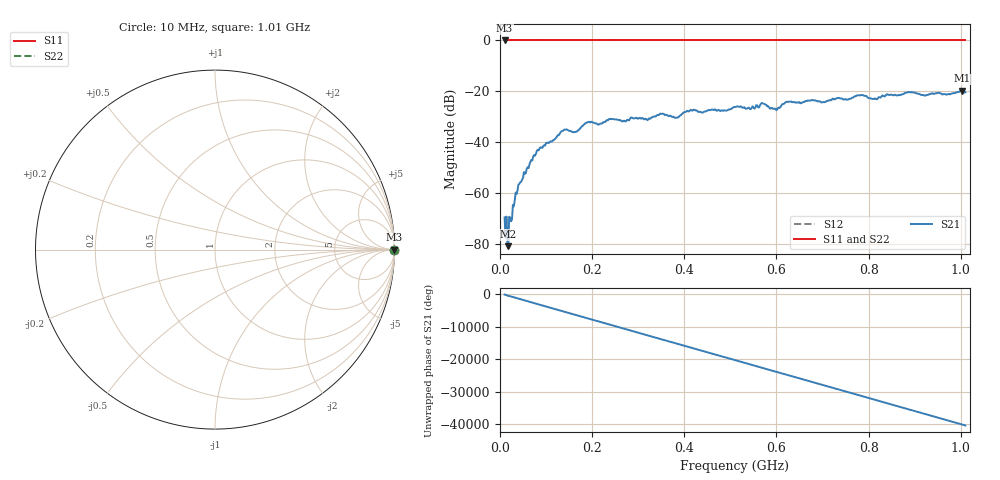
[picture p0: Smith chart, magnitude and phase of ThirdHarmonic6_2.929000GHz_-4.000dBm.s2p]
! 8/17/2025 8:10:23 AM
! C:\ANRITSUVNA\TEMP\TEMP.S2P
! CHANNEL.1
! TR.MEASUREMENT
! RAW.DATA
! RF.CORRECTION.OFF
! AVERAGING.OFF
! IF.BANDWIDTH: 5KHZ
! SWEEPTYPE:  FREQ.SWEEP(Linear)
! Reference Plane Port Info
! PORT:  PORT1  PORT2
! DISTANCE:  0  m  0  m
! TIME:  0  s  0  s
! PHASE.OFFSET:  0  deg.  0  deg.
! LOSS:  0  dB  0  dB
! REF.LOSS:  0  dB  0  dB
! REF.FREQ:  0  Hz  0  Hz
! Power Info
! POWER:  -20  dBm  -20  dBm
! EFF.POWER:  -20  dBm  -20  dBm
! SOURCE.ATTEN:  0  dB  0  dB
! TEST.ATTEN:  0  dB  0  dB
# GHZ S RI R 50.0
! FREQ.GHZ  S11RE  S11IM  S21RE  S21IM  S12RE  S12IM  S22RE  S22IM
!; PortSelection: Port_12
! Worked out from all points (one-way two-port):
!   501 points, 10 MHz to 1.01 GHz, reference 50 ohm
!   highest |S21| = -19.82 dB at 1.002 GHz (marker M1); lowest = -81.0 dB at 18 MHz (marker M2)
!   lowest |S11| = 0.0 dB at 10 MHz (marker M3)
!   |S11| at or under -10 dB: nowhere
!   |S22| runs from 0.0 to 0.0 dB; largest |S21 - S12| = 1.1
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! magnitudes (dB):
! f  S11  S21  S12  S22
! 10 MHz  0.0  -69.7  0.0  0.0
! 14 MHz  0.0  -69.3  0.0  0.0
! 18 MHz  0.0  -81.0  0.0  0.0
! 20 MHz  0.0  -69.4  0.0  0.0
! 24 MHz  0.0  -71.2  0.0  0.0
! 38 MHz  0.0  -59.0  0.0  0.0
! 78 MHz  0.0  -44.6  0.0  0.0
! 136 MHz  0.0  -35.6  0.0  0.0
! 164 MHz  0.0  -36.0  0.0  0.0
! 178 MHz  0.0  -33.8  0.0  0.0
! 194 MHz  0.0  -32.1  0.0  0.0
! 344 MHz  0.0  -29.4  0.0  0.0
! 384 MHz  0.0  -30.3  0.0  0.0
! 416 MHz  0.0  -27.6  0.0  0.0
! 510 MHz  0.0  -26.2  0.0  0.0
! 570 MHz  0.0  -24.7  0.0  0.0
! 598 MHz  0.0  -26.9  0.0  0.0
! 624 MHz  0.0  -24.1  0.0  0.0
! 678 MHz  0.0  -23.5  0.0  0.0
! 844 MHz  0.0  -21.4  0.0  0.0
! 1.002 GHz  0.0  -19.8  0.0  0.0
! 1.01 GHz  0.0  -20.4  0.0  0.0
